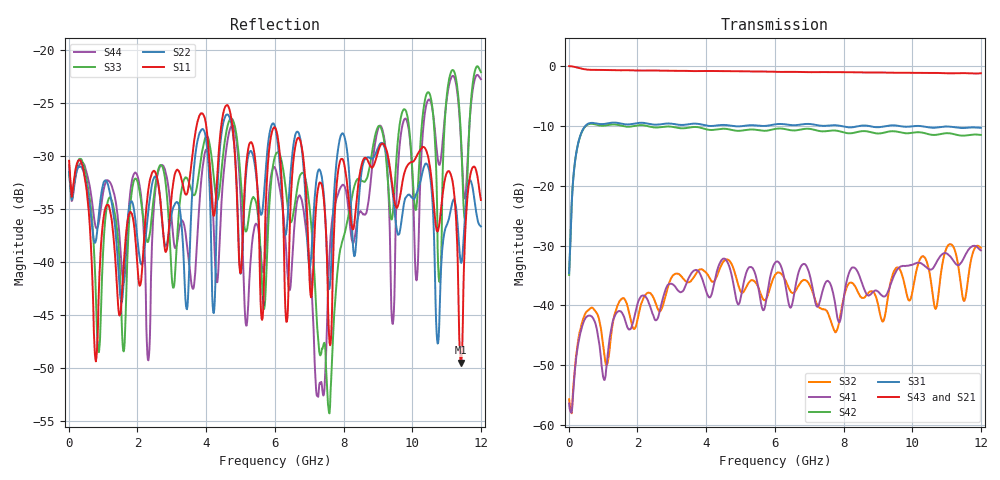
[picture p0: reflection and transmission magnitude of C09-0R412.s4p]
! MARKI MICROWAVE INC.
! Email:  info@markimicrowave.com  Phone:  408-778-4200
! Model Number:  C09-0R412  Date:  02/15
! Filename:		C09_0R412.S4P  Version: 1.0
! Description:  4-port S-parameter data for Directional Coupler C09-0R412
! Frequency Range: 	10 MHz to 12 GHz
! Port Configuration:	PORT 1: Input
!  PORT 2: Output
!  Port 3: Coupled
!  Port 4: Isolated
! S4P File: Measurements: Mag<S11> Ang<S11> Mag<S12> Ang<S12> Mag<S13> Ang<S13> Mag<S14> Ang<S14>! row 1
!  Mag<S21> Ang<S21> Mag<S22> Ang<S22> Mag<S23> Ang<S23> Mag<S24> Ang<S24>! row 2
!  Mag<S31> Ang<S31> Mag<S32> Ang<S32> Mag<S33> Ang<S33> Mag<S34> Ang<S34>! row 3
!  Mag<S41> Ang<S41> Mag<S42> Ang<S42> Mag<S43> Ang<S43> Mag<S44> Ang<S44>! row 4
# Hz S DB R 50
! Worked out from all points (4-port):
!   801 points, 10 MHz to 12 GHz, reference 50 ohm
!   strongest paths, dB at 10 MHz, 3.007 GHz, 6.005 GHz, 9.002 GHz, 12 GHz:
!     S43: -0.1, -0.8, -1.0, -1.1, -1.2
!     S21: 0.0, -0.9, -1.0, -1.1, -1.3
!     S31: -34.6, -9.7, -9.8, -10.3, -10.4
!     S42: -34.9, -10.2, -10.5, -11.3, -11.5
!     S41: -56.4, -36.4, -32.9, -37.7, -30.8
!     S32: -55.7, -35.2, -34.9, -39.8, -30.4
!   lowest |S11| = -49.5 dB at 11.42 GHz (marker M1), VSWR 1.01, Z = 49.7 + j0.151 ohm
!   |S11| at or under -10 dB: start of sweep to end of sweep
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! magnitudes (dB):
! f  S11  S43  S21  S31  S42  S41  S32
! 10 MHz  -30.5  -0.1  0.0  -34.6  -34.9  -56.4  -55.7
! 564.5 MHz  -34.6  -0.7  -0.7  -9.7  -9.8  -41.7  -40.8
! 6.814 GHz  -29.8  -1.1  -1.1  -9.8  -10.6  -33.1  -35.8
! 7.579 GHz  -46.9  -1.1  -1.1  -10.0  -10.9  -36.1  -41.7
! 10.34 GHz  -29.2  -1.2  -1.2  -10.1  -11.2  -33.3  -31.8
! 11.42 GHz  -49.5  -1.2  -1.2  -10.4  -11.6  -33.0  -36.5
! 12 GHz  -34.1  -1.2  -1.3  -10.4  -11.5  -30.8  -30.4
